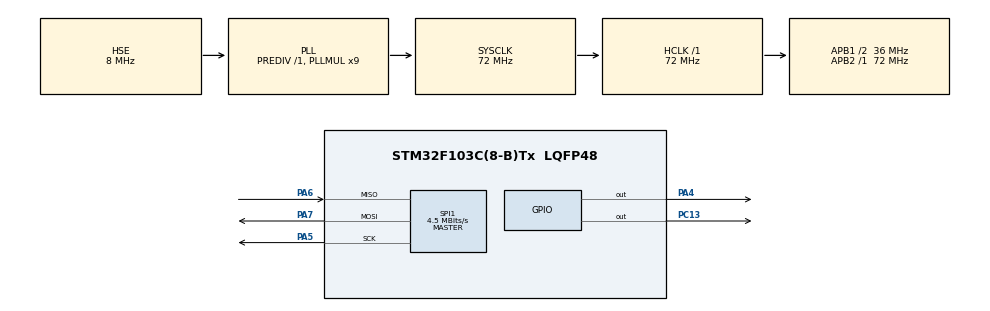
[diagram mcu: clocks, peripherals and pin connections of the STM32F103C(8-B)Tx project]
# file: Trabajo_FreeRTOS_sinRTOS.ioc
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Mcu.Family=STM32F1
RCC.PLLSourceVirtual=RCC_PLLSOURCE_HSE
PA6.Mode=Full_Duplex_Master
PA7.Mode=Full_Duplex_Master
PD1-OSC_OUT.Mode=HSE-External-Oscillator
SPI1.VirtualType=VM_MASTER
PC13-TAMPER-RTC.Signal=GPIO_Output
PD0-OSC_IN.Signal=RCC_OSC_IN
RCC.APB1CLKDivider=RCC_HCLK_DIV2
RCC.SYSCLKSource=RCC_SYSCLKSOURCE_PLLCLK
ProjectManager.StackSize=0x400
PD1-OSC_OUT.Signal=RCC_OSC_OUT
PA13.Signal=SYS_JTMS-SWDIO
ProjectManager.TargetToolchain=STM32CubeIDE
SPI1.Direction=SPI_DIRECTION_2LINES
RCC.HCLKFreq_Value=72000000
RCC.APB2TimFreq_Value=72000000
SPI1.CalculateBaudRate=4.5 MBits/s
RCC.USBFreq_Value=72000000
RCC.AHBFreq_Value=72000000
PD0-OSC_IN.Mode=HSE-External-Oscillator
PA5.Signal=SPI1_SCK
board=custom
RCC.PLLMUL=RCC_PLL_MUL9
RCC.APB2Freq_Value=72000000
SPI1.Mode=SPI_MODE_MASTER
PA14.Mode=Serial_Wire
SPI1.DataSize=SPI_DATASIZE_16BIT
PA13.Mode=Serial_Wire
Mcu.Name=STM32F103C(8-B)Tx
PA4.Signal=GPIO_Output
RCC.SYSCLKFreq_VALUE=72000000
Mcu.Package=LQFP48
PA6.Signal=SPI1_MISO
PA14.Signal=SYS_JTCK-SWCLK
ProjectManager.HeapSize=0x200
NVIC.PriorityGroup=NVIC_PRIORITYGROUP_4
RCC.APB1TimFreq_Value=72000000
RCC.APB1Freq_Value=36000000
SPI1.BaudRatePrescaler=SPI_BAUDRATEPRESCALER_16
PA5.Mode=Full_Duplex_Master
PA7.Signal=SPI1_MOSI

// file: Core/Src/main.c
/* USER CODE BEGIN Header */
/**
  ******************************************************************************
  * @file           : main.c
  * @brief          : Main program body
  ******************************************************************************
  * @attention
  *
  * <h2><center>&copy; Copyright (c) 2021 STMicroelectronics.
  * All rights reserved.</center></h2>
  *
  * This software component is licensed by ST under BSD 3-Clause license,
  * the "License"; You may not use this file except in compliance with the
  * License. You may obtain a copy of the License at:
  *                        opensource.org/licenses/BSD-3-Clause
  *
  ******************************************************************************
  */
/* USER CODE END Header */

#include "main.h"

SPI_HandleTypeDef hspi1;

void SystemClock_Config(void);
static void MX_GPIO_Init(void);
static void MX_SPI1_Init(void);
/* USER CODE BEGIN PFP */
static void tarea_matriz(board_t*);
/* USER CODE END PFP */

int main(void)
{
  /* USER CODE BEGIN 1 */
	int i;
	board_t actualBoard;
	board_t futureBoard;
  /* USER CODE END 1 */

  /* MCU Configuration--------------------------------------------------------*/

  /* Reset of all peripherals, Initializes the Flash interface and the Systick. */
	HAL_Init();

  /* Configure the system clock */
	SystemClock_Config();

  /* Initialize all configured peripherals */
	MX_GPIO_Init();
	MX_SPI1_Init();
  /* USER CODE BEGIN 2 */
	for(i=0;i<1000000;i++);
	inicializar_max7219(&hspi1, GPIOA, GPIO_PIN_4);

	clearBoard(&actualBoard);

  /* USER CODE END 2 */

  /* Infinite loop */
	while (1)
	{

    /* USER CODE BEGIN 3 */
		checkStatus(&actualBoard);

		tarea_matriz(&actualBoard);
		updateBoard(&actualBoard, &futureBoard);
		actualBoard = futureBoard;
		HAL_Delay(500);
	}
  /* USER CODE END 3 */
}

void SystemClock_Config(void)
{
  RCC_OscInitTypeDef RCC_OscInitStruct = {0};
  RCC_ClkInitTypeDef RCC_ClkInitStruct = {0};

  /** Initializes the CPU, AHB and APB busses clocks
  */
  RCC_OscInitStruct.OscillatorType = RCC_OSCILLATORTYPE_HSE;
  RCC_OscInitStruct.HSEState = RCC_HSE_ON;
  RCC_OscInitStruct.HSEPredivValue = RCC_HSE_PREDIV_DIV1;
  RCC_OscInitStruct.HSIState = RCC_HSI_ON;
  RCC_OscInitStruct.PLL.PLLState = RCC_PLL_ON;
  RCC_OscInitStruct.PLL.PLLSource = RCC_PLLSOURCE_HSE;
  RCC_OscInitStruct.PLL.PLLMUL = RCC_PLL_MUL9;
  if (HAL_RCC_OscConfig(&RCC_OscInitStruct) != HAL_OK)
  {
    Error_Handler();
  }
  /** Initializes the CPU, AHB and APB busses clocks
  */
  RCC_ClkInitStruct.ClockType = RCC_CLOCKTYPE_HCLK|RCC_CLOCKTYPE_SYSCLK
                              |RCC_CLOCKTYPE_PCLK1|RCC_CLOCKTYPE_PCLK2;
  RCC_ClkInitStruct.SYSCLKSource = RCC_SYSCLKSOURCE_PLLCLK;
  RCC_ClkInitStruct.AHBCLKDivider = RCC_SYSCLK_DIV1;
  RCC_ClkInitStruct.APB1CLKDivider = RCC_HCLK_DIV2;
  RCC_ClkInitStruct.APB2CLKDivider = RCC_HCLK_DIV1;

  if (HAL_RCC_ClockConfig(&RCC_ClkInitStruct, FLASH_LATENCY_2) != HAL_OK)
  {
    Error_Handler();
  }
}

static void MX_SPI1_Init(void)
{

  /* SPI1 parameter configuration*/
  hspi1.Instance = SPI1;
  hspi1.Init.Mode = SPI_MODE_MASTER;
  hspi1.Init.Direction = SPI_DIRECTION_2LINES;
  hspi1.Init.DataSize = SPI_DATASIZE_16BIT;
  hspi1.Init.CLKPolarity = SPI_POLARITY_LOW;
  hspi1.Init.CLKPhase = SPI_PHASE_1EDGE;
  hspi1.Init.NSS = SPI_NSS_SOFT;
  hspi1.Init.BaudRatePrescaler = SPI_BAUDRATEPRESCALER_16;
  hspi1.Init.FirstBit = SPI_FIRSTBIT_MSB;
  hspi1.Init.TIMode = SPI_TIMODE_DISABLE;
  hspi1.Init.CRCCalculation = SPI_CRCCALCULATION_DISABLE;
  hspi1.Init.CRCPolynomial = 10;
  if (HAL_SPI_Init(&hspi1) != HAL_OK)
  {
    Error_Handler();
  }

}

static void MX_GPIO_Init(void)
{
  GPIO_InitTypeDef GPIO_InitStruct = {0};

  /* GPIO Ports Clock Enable */
  __HAL_RCC_GPIOC_CLK_ENABLE();
  __HAL_RCC_GPIOD_CLK_ENABLE();
  __HAL_RCC_GPIOA_CLK_ENABLE();

  /*Configure GPIO pin Output Level */
  HAL_GPIO_WritePin(GPIOC, GPIO_PIN_13, GPIO_PIN_RESET);

  /*Configure GPIO pin Output Level */
  HAL_GPIO_WritePin(GPIOA, GPIO_PIN_4, GPIO_PIN_RESET);

  /*Configure GPIO pin : PC13 */
  GPIO_InitStruct.Pin = GPIO_PIN_13;
  GPIO_InitStruct.Mode = GPIO_MODE_OUTPUT_PP;
  GPIO_InitStruct.Pull = GPIO_NOPULL;
  GPIO_InitStruct.Speed = GPIO_SPEED_FREQ_LOW;
  HAL_GPIO_Init(GPIOC, &GPIO_InitStruct);

  /*Configure GPIO pin : PA4 */
  GPIO_InitStruct.Pin = GPIO_PIN_4;
  GPIO_InitStruct.Mode = GPIO_MODE_OUTPUT_PP;
  GPIO_InitStruct.Pull = GPIO_NOPULL;
  GPIO_InitStruct.Speed = GPIO_SPEED_FREQ_LOW;
  HAL_GPIO_Init(GPIOA, &GPIO_InitStruct);

}

/* USER CODE BEGIN 4 */
void tarea_matriz(board_t* board)
{
	int i;
	static uint8_t pantalla[8] = {0x00,0x00,0x00,0x00,0x00,0x00,0x00,0x00};

	for(i=0;i<8;i++) {
		pantalla[i] = board->num[i];	// Escribe el contenido de la nueva pantalla.
	}
	dibujar_max7219(pantalla);
}
/* USER CODE END 4 */

void Error_Handler(void)
{
}

/************************ (C) COPYRIGHT STMicroelectronics *****END OF FILE****/
